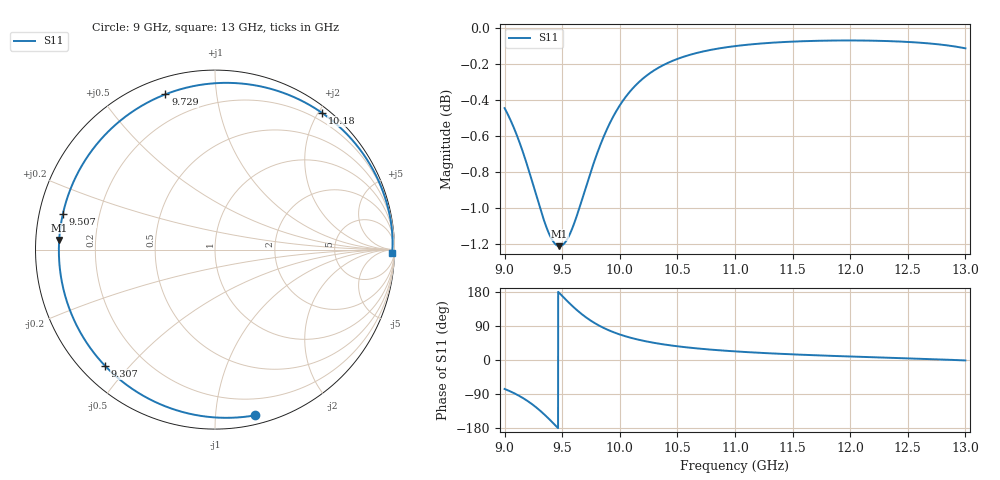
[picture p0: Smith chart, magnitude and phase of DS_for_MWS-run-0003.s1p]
! TOUCHSTONE file generated by CST DESIGN STUDIO
! Date and time: Tue Feb  4 16:07:12 2025
! Project name: C:\Work\MatlabApps\UnitCellOptimizationMatlab\CST\unitcell.cst
! Tree item: Tasks\Sweep1\SPara1\S-Parameters
! Header version: 2024
! Port assignment regex: !\s*Touchstone port\s*([0-9]+)\s*=\s*(CST MWS port|CST DES external port|CST DES block port)\s*(.+)\s* \(\"(.*)\"\)(\s*mode\s*([0-9]+))?.*
! Touchstone port assignment:
! Touchstone port 1 = CST DES external port 1 ("")
# GHz S MA R 50
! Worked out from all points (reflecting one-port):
!   4001 points, 9 GHz to 13 GHz, reference 50 ohm
!   lowest |S11| = -1.2 dB at 9.476 GHz (marker M1), VSWR 14.36, Z = 3.49 + j1.55 ohm
!   phase of S11 starts at -76 deg and turns -285 deg over the sweep
!   S11 on the Smith chart (normalised r, x): 9 GHz: 0.07, -1.27; 9.307 GHz: 0.07, -0.43; 9.507 GHz: 0.07, +0.12; 9.729 GHz: 0.07, +0.73; 10.18 GHz: 0.09, +2.05; 13 GHz: 46, -71
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9  0.9501 -76.4
9.076  0.9389 -86.6
9.174  0.9207 -103.2
9.243  0.9056 -117.7
9.307  0.8914 -133.4
9.351  0.8825 -145.5
9.398  0.8751 -159.3
9.438  0.8711 -171.7
9.476  0.8698 176.4
9.5  0.8703 168.9
9.507  0.8706 166.7
9.559  0.8755 150.9
9.62  0.8856 133.7
9.673  0.8963 120.3
9.729  0.9082 107.7
9.783  0.9191 97.2
9.843  0.93 87.2
9.92  0.9419 76.4
10  0.9518 67.3
10.184  0.9672 52.0
10.329  0.9747 43.6
10.5  0.9804 36.2
10.722  0.9851 29.1
11  0.9885 22.8
11.5  0.9914 14.9
12  0.9921 9.2
12.5  0.9912 4.3
13  0.9871 -1.1
